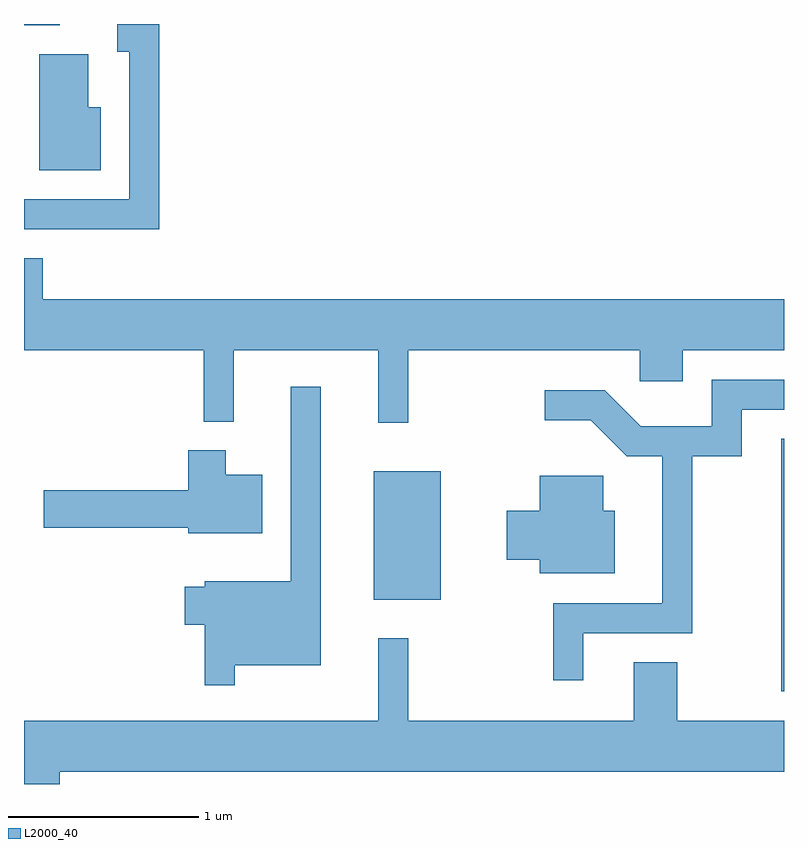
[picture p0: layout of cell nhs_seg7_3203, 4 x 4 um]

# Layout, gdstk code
import gdstk
lib = gdstk.Library(unit=1e-6, precision=1e-09)
def R(c, l, rs):  # rectangles x0, y0, x1, y1
    for r in rs: c.add(gdstk.rectangle(r[:2], r[2:], *l))
def P(c, l, *ps):  # polygons
    for p in ps: c.add(gdstk.Polygon(p, *l))
L2000_40 = (2000, 40)

nhs_seg7_3203 = lib.new_cell('nhs_seg7_3203')
R(nhs_seg7_3203, L2000_40, [(287.596,1714.741,287.611,1716.069), (285.451,1715.221,285.804,1715.899), (283.611,1718.246,283.799,1718.252)])
P(nhs_seg7_3203, L2000_40, [(284.324,1718.252),(284.101,1718.252),(284.101,1718.106),(284.166,1718.106),(284.166,1717.329),(283.611,1717.329),(283.611,1717.171),(284.324,1717.171)],
  [(284.014,1717.814),(283.949,1717.814),(283.949,1718.094),(283.691,1718.094),(283.691,1717.481),(284.014,1717.481)],
  [(285.634,1716.536),(286.851,1716.536),(286.851,1716.371),(287.079,1716.371),(287.079,1716.536),(287.611,1716.536),(287.611,1716.804),(283.709,1716.804),(283.709,1717.019),(283.611,1717.019),(283.611,1716.536),(284.556,1716.536),(284.556,1716.158),(284.714,1716.158),(284.714,1716.536),(285.476,1716.536),(285.476,1716.153),(285.634,1716.153)],
  [(286.554,1715.046),(287.129,1715.046),(287.129,1715.976),(287.389,1715.976),(287.389,1716.221),(287.611,1716.221),(287.611,1716.379),(287.231,1716.379),(287.231,1716.134),(286.857,1716.134),(286.667,1716.324),(286.353,1716.324),(286.353,1716.166),(286.594,1716.166),(286.784,1715.976),(286.971,1715.976),(286.971,1715.204),(286.396,1715.204),(286.396,1714.798),(286.554,1714.798)],
  [(284.719,1714.876),(285.174,1714.876),(285.174,1716.343),(285.016,1716.343),(285.016,1715.319),(284.561,1715.319),(284.561,1715.289),(284.456,1715.289),(284.456,1715.091),(284.561,1715.091),(284.561,1714.773),(284.719,1714.773)],
  [(284.864,1715.879),(284.674,1715.879),(284.674,1716.009),(284.476,1716.009),(284.476,1715.799),(283.716,1715.799),(283.716,1715.601),(284.476,1715.601),(284.476,1715.571),(284.864,1715.571)],
  [(286.719,1715.689),(286.659,1715.689),(286.659,1715.874),(286.326,1715.874),(286.326,1715.689),(286.151,1715.689),(286.151,1715.431),(286.326,1715.431),(286.326,1715.361),(286.719,1715.361)],
  [(283.799,1714.316),(287.611,1714.316),(287.611,1714.584),(287.049,1714.584),(287.049,1714.894),(286.821,1714.894),(286.821,1714.584),(285.634,1714.584),(285.634,1715.018),(285.476,1715.018),(285.476,1714.584),(283.611,1714.584),(283.611,1714.252),(283.799,1714.252)])

lib.write_gds('nhs_seg7_3203.gds')
